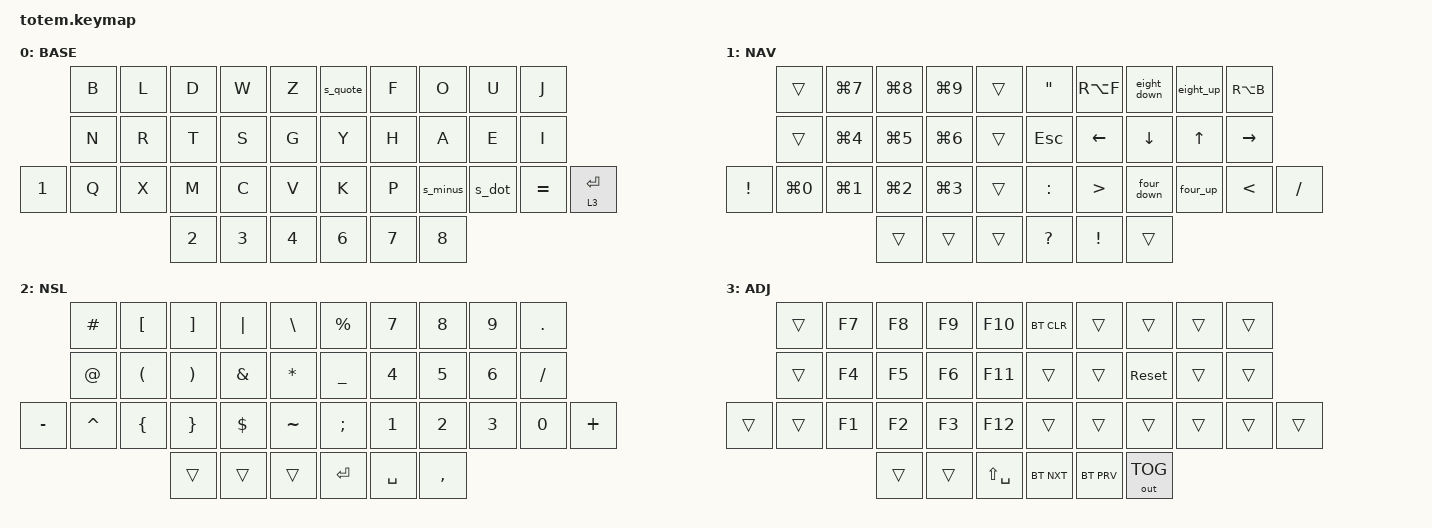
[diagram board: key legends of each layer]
#include <behaviors.dtsi>
#include <dt-bindings/zmk/bt.h>
#include <dt-bindings/zmk/keys.h>
#include <dt-bindings/zmk/outputs.h>

#define BASE 0
#define NAV  1
#define NSL  2
#define ADJ  3

&mt {
    /* tapping-term-ms = <170>; */

    quick-tap-ms = <250>;

    /* flavor = "hold-preferred"; */
    /* global-quick-tap; */
};

&lt {
    /* tapping-term-ms = <170>; */

    quick-tap-ms = <250>;

    /* flavor = "tap-preferred"; */
    /* global-quick-tap; */

    require-prior-idle-ms = <250>;
};

&sk { quick-release; };

/ {
    behaviors {
        /*
        *
        */

        caps_tdr: caps_tap_dance_right {
            compatible = "zmk,behavior-tap-dance";
            #binding-cells = <0>;
            tapping-term-ms = <200>;

            /* bindings = <&smt RSHFT RALT>, <&caps_word>; */

            bindings = <&sk RALT>, <&caps_word>;
        };

        caps_tdl: caps_tap_dance_left {
            compatible = "zmk,behavior-tap-dance";
            #binding-cells = <0>;
            tapping-term-ms = <200>;
            bindings = <&slt 1 LSHFT>, <&caps_word>;
        };

        /*   Custom mod-tap/layer-tap behavior.
        *   The main idea is to accomodate
        *   the one-shot (i.e. sticky) mods.
        */

        slt: sticky_layer_tap {
            compatible = "zmk,behavior-hold-tap";
            #binding-cells = <2>;
            flavor = "hold-preferred";
            tapping-term-ms = <200>;

            /* require-prior-idle-ms = <250>; */

            bindings = <&mo>, <&sk>;

            display-name = "Sticky-Layer-Tap";
        };

        smt: sticky_mod_tap {
            compatible = "zmk,behavior-hold-tap";
            #binding-cells = <2>;
            flavor = "hold-preferred";
            tapping-term-ms = <200>;
            bindings = <&kp>, <&sk>;

            display-name = "Sticky-Mod-Tap";
        };

        /*   Tapping the key invokes the Caps-Word
        *   behavior while holding it is used
        *   as a regular key press.
        *
        *   One thing to note here is that the second parameter
        *   is passed a dummy argument value (e.g. 0), per the 
        *   official documentation.
        */

        ht_caps: hold_tap_caps {
            compatible = "zmk,behavior-hold-tap";
            #binding-cells = <2>;
            tapping-term-ms = <200>;
            bindings = <&kp>, <&caps_word>;

            display-name = "Caps Hold Tap";
        };

        /*   CTRL -based behavior of what would normally be a plain SPACE.
        *   Implemented as nested mod-morphs. The main idea is that `space`
        *   and `comma` are among the most commonly typed characters; hence
        *   their optimized placement (again, not without some individual
        *   preferences).
        */

        spc_L1: rctl_space {
            compatible = "zmk,behavior-mod-morph";
            #binding-cells = <0>;
            bindings = <&lt 2 SPACE>, <&kp COMMA>;

            mods = <(MOD_RCTL)>;
        };

        spc_L0: lctl_space {
            compatible = "zmk,behavior-mod-morph";
            #binding-cells = <0>;

            /* bindings = <&spc_L1>, <&kp COLON>; */

            bindings = <&lt 2 SPACE>, <&kp COLON>;

            mods = <(MOD_LCTL)>;
        };

        /*   Quasi-Shift behavior for certain keys.
        *   In the traditional QWERTY layout/keyboard proper,
        *   pairs of non-alphanumeric symbols seem to be tightly coupled
        *   with one another via Shift Mod Key (e.g. / and ? ).
        *   In ZMK, there could actually be an easier way to decouple them,
        *   and, as such, this schema is also subject to revision.
        */

        s_minus: shift_minus {
            compatible = "zmk,behavior-mod-morph";
            #binding-cells = <0>;
            bindings = <&kp MINUS>, <&kp PLUS>;

            mods = <(MOD_LSFT|MOD_RSFT)>;
        };

        s_dot: shift_dot {
            compatible = "zmk,behavior-mod-morph";
            #binding-cells = <0>;
            bindings = <&kp DOT>, <&kp GT>;

            mods = <(MOD_LSFT|MOD_RSFT)>;
        };

        s_slash: shift_slash {
            compatible = "zmk,behavior-mod-morph";
            #binding-cells = <0>;
            bindings = <&kp FSLH>, <&kp LT>;

            mods = <(MOD_LSFT|MOD_RSFT)>;
        };

        s_quote: shift_quotes {
            compatible = "zmk,behavior-mod-morph";
            #binding-cells = <0>;
            bindings = <&kp APOS>, <&kp GRAVE>;

            mods = <(MOD_LSFT|MOD_RSFT)>;
        };

        ecc: esc_comma_ctl {
            compatible = "zmk,behavior-mod-morph";
            #binding-cells = <0>;
            bindings = <&mt LCTRL ESC>, <&kp COMMA>;

            mods = <MOD_RCTL>;
        };

        /*
        *
        *
        */

        mm_ctrl_bspc: ctrl_bspc {
            compatible = "zmk,behavior-mod-morph";
            #binding-cells = <0>;
            bindings = <&mt RCTRL BSPC>, <&kp BSPC>;

            mods = <MOD_LCTL>;
            keep-mods = <MOD_LCTL>;
        };
    };

    macros {
        /*   Easier navigation macros.  */

        four_down: four_down_macro {
            compatible = "zmk,behavior-macro";
            #binding-cells = <0>;
            bindings = <&macro_tap>, <&kp DOWN &kp DOWN &kp DOWN &kp DOWN>;
        };

        four_up: four_up_macro {
            compatible = "zmk,behavior-macro";
            #binding-cells = <0>;
            bindings = <&macro_tap>, <&kp UP &kp UP &kp UP &kp UP>;
        };

        eight_down: eight_down_macro {
            compatible = "zmk,behavior-macro";
            #binding-cells = <0>;
            bindings = <&macro_tap>, <&kp N8 &kp DOWN>;
        };

        eight_up: eight_up_macro {
            compatible = "zmk,behavior-macro";
            #binding-cells = <0>;
            bindings = <&macro_tap>, <&kp N8 &kp UP>;
        };
    };

    /* ---------------------------------------------------------------------------------------------------------------------------------------------------- 
              ┏━━━━━━━━━━━┳━━━━━━━━━━━┳━━━━━━━━━━━┳━━━━━━━━━━━┳━━━━━━━━━━━┓   ┏━━━━━━━━━━━┳━━━━━━━━━━━┳━━━━━━━━━━━┳━━━━━━━━━━━┳━━━━━━━━━━━┓
              ┃     b     ┃     l     ┃     d     ┃     w     ┃    z      ┃   ┃     "     ┃     f     ┃     o     ┃     u     ┃     j     ┃
              ┣━━━━━━━━━━━╋━━━━━━━━━━━╋━━━━━━━━━━━╋━━━━━━━━━━━╋━━━━━━━━━━━┫   ┣━━━━━━━━━━━╋━━━━━━━━━━━╋━━━━━━━━━━━╋━━━━━━━━━━━╋━━━━━━━━━━━┫
              ┃     n     ┃     r     ┃     t     ┃     s     ┃    g      ┃   ┃     y     ┃     h     ┃     a     ┃     e     ┃     i     ┃
  ┏━━━━━━━━━━━╋━━━━━━━━━━━╋━━━━━━━━━━━╋━━━━━━━━━━━╋━━━━━━━━━━━╋━━━━━━━━━━━┫   ┣━━━━━━━━━━━╋━━━━━━━━━━━╋━━━━━━━━━━━╋━━━━━━━━━━━╋━━━━━━━━━━━╋━━━━━━━━━━━┓
  ┃           ┃     q     ┃     x     ┃     m     ┃     c     ┃    v      ┃   ┃     k     ┃     p     ┃   - (+)   ┃   . (>)   ┃  / (<)    ┃           ┃
  ┗━━━━━━━━━━━┻━━━━━━━━━━━┻━━━━━━━━━━━╋━━━━━━━━━━━╋━━━━━━━━━━━╋━━━━━━━━━━━┫   ┣━━━━━━━━━━━╋━━━━━━━━━━━╋━━━━━━━━━━━╋━━━━━━━━━━━┻━━━━━━━━━━━┻━━━━━━━━━━━┛
                                      ┃           ┃           ┃           ┃   ┃           ┃           ┃           ┃
                                      ┗━━━━━━━━━━━┻━━━━━━━━━━━┻━━━━━━━━━━━┛   ┗━━━━━━━━━━━┻━━━━━━━━━━━┻━━━━━━━━━━━┛
*/

    keymap {
        compatible = "zmk,keymap";

        base_layer {
            label = "BASE";
            bindings = <
              &kp B  &kp L  &kp D         &kp W         &kp Z           &s_quote      &kp F   &kp O         &kp U   &kp J
              &kp N  &kp R  &kp T         &kp S         &kp G           &kp Y         &kp H   &kp A         &kp E   &kp I
&kp NUMBER_1  &kp Q  &kp X  &kp M         &kp C         &kp V           &kp K         &kp P   &s_minus      &s_dot  &kp EQUAL  &lt 3 RET
                            &kp NUMBER_2  &kp NUMBER_3  &kp NUMBER_4    &kp NUMBER_6  &kp N7  &kp NUMBER_8
            >;
        };

        /* ---------------------------------------------------------------------------------------------------------------------------------------------------- */

        nav_layer {
            label = "NAV";
            bindings = <
          &trans      &kp LG(N7)  &kp LG(N8)  &kp LG(N9)  &trans    &kp DQT    &kp RA(F)  &eight_down  &eight_up  &kp RA(B)
          &trans      &kp LG(N4)  &kp LG(N5)  &kp LG(N6)  &trans    &kp ESC    &kp LEFT   &kp DOWN     &kp UP     &kp RIGHT
&kp EXCL  &kp LG(N0)  &kp LG(N1)  &kp LG(N2)  &kp LG(N3)  &trans    &kp COLON  &kp GT     &four_down   &four_up   &kp LT     &kp FSLH
                                  &trans      &trans      &trans    &kp QMARK  &kp EXCL   &trans
            >;
        };

        /* ---------------------------------------------------------------------------------------------------------------------------------------------------- */

        num_sym_layer {
            label = "NSL";
            bindings = <
           &kp HASH   &kp LBKT  &kp RBKT  &kp PIPE    &kp BSLH     &kp PRCNT  &kp N7     &kp N8     &kp N9  &kp DOT
           &kp AT     &kp LPAR  &kp RPAR  &kp AMPS    &kp ASTRK    &kp UNDER  &kp N4     &kp N5     &kp N6  &kp FSLH
&kp MINUS  &kp CARET  &kp LBRC  &kp RBRC  &kp DOLLAR  &kp TILDE    &kp SEMI   &kp N1     &kp N2     &kp N3  &kp N0    &kp PLUS
                                &trans    &trans      &trans       &kp RET    &kp SPACE  &kp COMMA
            >;
        };

        /* ---------------------------------------------------------------------------------------------------------------------------------------------------- */

        adjust_layer {
            label = "ADJ";
            bindings = <
        &trans  &kp F7  &kp F8  &kp F9  &kp F10          &bt BT_CLR  &trans      &trans        &trans  &trans
        &trans  &kp F4  &kp F5  &kp F6  &kp F11          &trans      &trans      &sys_reset    &trans  &trans
&trans  &trans  &kp F1  &kp F2  &kp F3  &kp F12          &trans      &trans      &trans        &trans  &trans  &trans
                        &trans  &trans  &kp LS(SPACE)    &bt BT_NXT  &bt BT_PRV  &out OUT_TOG
            >;
        };
    };
};
